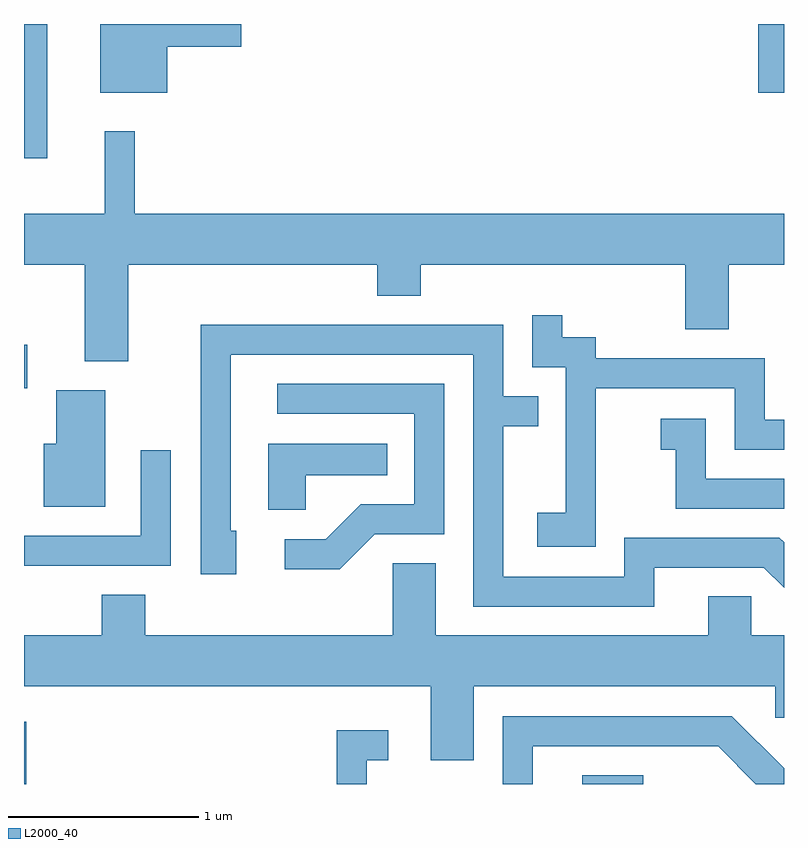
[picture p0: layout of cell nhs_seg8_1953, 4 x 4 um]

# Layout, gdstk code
import gdstk
lib = gdstk.Library(unit=1e-6, precision=1e-09)
def R(c, l, rs):  # rectangles x0, y0, x1, y1
    for r in rs: c.add(gdstk.rectangle(r[:2], r[2:], *l))
def P(c, l, *ps):  # polygons
    for p in ps: c.add(gdstk.Polygon(p, *l))
L2000_40 = (2000, 40)

nhs_seg8_1953 = lib.new_cell('nhs_seg8_1953')
R(nhs_seg8_1953, L2000_40, [(243.611,1840.342,243.624,1840.669), (246.548,1840.342,246.869,1840.389), (243.611,1842.426,243.629,1842.654), (243.611,1843.636,243.734,1844.342), (247.476,1843.981,247.611,1844.342)])
P(nhs_seg8_1953, L2000_40, [(244.364,1844.221),(244.754,1844.221),(244.754,1844.342),(244.011,1844.342),(244.011,1843.981),(244.364,1843.981)],
  [(244.159,1843.076),(245.471,1843.076),(245.471,1842.911),(245.699,1842.911),(245.699,1843.076),(247.091,1843.076),(247.091,1842.736),(247.319,1842.736),(247.319,1843.076),(247.611,1843.076),(247.611,1843.344),(244.194,1843.344),(244.194,1843.778),(244.036,1843.778),(244.036,1843.344),(243.611,1843.344),(243.611,1843.076),(243.931,1843.076),(243.931,1842.566),(244.159,1842.566)],
  [(246.619,1842.426),(247.351,1842.426),(247.351,1842.101),(247.611,1842.101),(247.611,1842.259),(247.509,1842.259),(247.509,1842.584),(246.619,1842.584),(246.619,1842.694),(246.444,1842.694),(246.444,1842.808),(246.286,1842.808),(246.286,1842.536),(246.461,1842.536),(246.461,1841.769),(246.311,1841.769),(246.311,1841.591),(246.619,1841.591)],
  [(246.929,1841.481),(247.504,1841.481),(247.611,1841.374),(247.611,1841.615),(247.587,1841.639),(246.771,1841.639),(246.771,1841.434),(246.134,1841.434),(246.134,1842.226),(246.318,1842.226),(246.318,1842.384),(246.134,1842.384),(246.134,1842.759),(244.541,1842.759),(244.541,1841.446),(244.729,1841.446),(244.729,1841.674),(244.699,1841.674),(244.699,1842.601),(245.976,1842.601),(245.976,1841.276),(246.929,1841.276)],
  [(245.457,1841.656),(245.824,1841.656),(245.824,1842.449),(244.943,1842.449),(244.943,1842.291),(245.666,1842.291),(245.666,1841.814),(245.384,1841.814),(245.199,1841.629),(244.983,1841.629),(244.983,1841.471),(245.272,1841.471)],
  [(244.039,1842.414),(243.781,1842.414),(243.781,1842.134),(243.716,1842.134),(243.716,1841.801),(244.039,1841.801)],
  [(247.611,1841.949),(247.199,1841.949),(247.199,1842.264),(246.963,1842.264),(246.963,1842.101),(247.041,1842.101),(247.041,1841.791),(247.611,1841.791)],
  [(245.094,1841.966),(245.523,1841.966),(245.523,1842.134),(244.896,1842.134),(244.896,1841.786),(245.094,1841.786)],
  [(244.384,1842.098),(244.226,1842.098),(244.226,1841.649),(243.611,1841.649),(243.611,1841.491),(244.384,1841.491)],
  [(245.979,1840.856),(247.566,1840.856),(247.566,1840.691),(247.611,1840.691),(247.611,1841.124),(247.439,1841.124),(247.439,1841.329),(247.211,1841.329),(247.211,1841.124),(245.779,1841.124),(245.779,1841.504),(245.551,1841.504),(245.551,1841.124),(244.249,1841.124),(244.249,1841.339),(244.021,1841.339),(244.021,1841.124),(243.611,1841.124),(243.611,1840.856),(245.751,1840.856),(245.751,1840.466),(245.979,1840.466)],
  [(246.289,1840.541),(247.264,1840.541),(247.463,1840.342),(247.611,1840.342),(247.611,1840.425),(247.337,1840.699),(246.131,1840.699),(246.131,1840.342),(246.289,1840.342)],
  [(245.414,1840.466),(245.528,1840.466),(245.528,1840.624),(245.256,1840.624),(245.256,1840.342),(245.414,1840.342)])

lib.write_gds('nhs_seg8_1953.gds')
